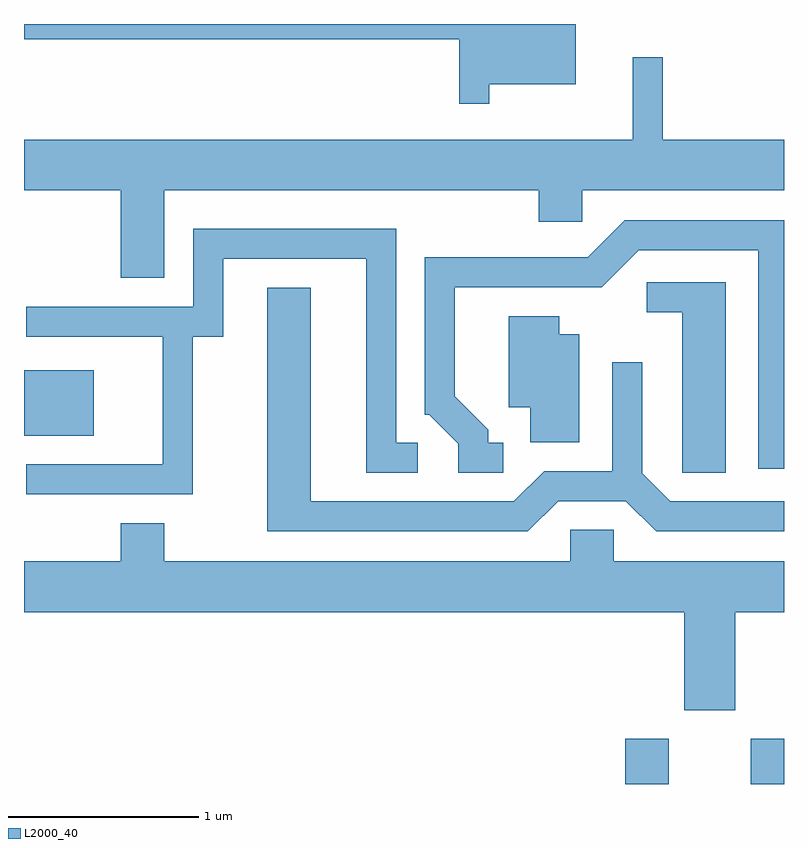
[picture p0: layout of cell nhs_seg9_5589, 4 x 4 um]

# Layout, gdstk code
import gdstk
lib = gdstk.Library(unit=1e-6, precision=1e-09)
def R(c, l, rs):  # rectangles x0, y0, x1, y1
    for r in rs: c.add(gdstk.rectangle(r[:2], r[2:], *l))
def P(c, l, *ps):  # polygons
    for p in ps: c.add(gdstk.Polygon(p, *l))
L2000_40 = (2000, 40)

nhs_seg9_5589 = lib.new_cell('nhs_seg9_5589')
R(nhs_seg9_5589, L2000_40, [(352.776,2026.432,353.004,2026.669), (353.436,2026.432,353.611,2026.669), (349.611,2028.266,349.979,2028.609)])
P(nhs_seg9_5589, L2000_40, [(352.059,2030.116),(352.514,2030.116),(352.514,2030.432),(349.611,2030.432),(349.611,2030.351),(351.901,2030.351),(351.901,2030.013),(352.059,2030.013)],
  [(350.349,2029.556),(352.321,2029.556),(352.321,2029.391),(352.549,2029.391),(352.549,2029.556),(353.611,2029.556),(353.611,2029.824),(352.974,2029.824),(352.974,2030.258),(352.816,2030.258),(352.816,2029.824),(349.611,2029.824),(349.611,2029.556),(350.121,2029.556),(350.121,2029.096),(350.349,2029.096)],
  [(352.133,2028.229),(352.054,2028.229),(352.054,2028.297),(351.879,2028.472),(351.879,2029.046),(352.652,2029.046),(352.847,2029.241),(353.476,2029.241),(353.476,2028.091),(353.611,2028.091),(353.611,2029.399),(352.774,2029.399),(352.579,2029.204),(351.721,2029.204),(351.721,2028.376),(351.744,2028.376),(351.896,2028.224),(351.896,2028.071),(352.133,2028.071)],
  [(350.499,2028.786),(350.659,2028.786),(350.659,2029.196),(351.411,2029.196),(351.411,2028.071),(351.683,2028.071),(351.683,2028.229),(351.569,2028.229),(351.569,2029.354),(350.501,2029.354),(350.501,2028.944),(349.623,2028.944),(349.623,2028.786),(350.341,2028.786),(350.341,2028.114),(349.623,2028.114),(349.623,2027.956),(350.499,2027.956)],
  [(353.304,2029.074),(352.888,2029.074),(352.888,2028.916),(353.076,2028.916),(353.076,2028.071),(353.304,2028.071)],
  [(352.422,2027.921),(352.779,2027.921),(352.939,2027.761),(353.611,2027.761),(353.611,2027.919),(353.012,2027.919),(352.864,2028.067),(352.864,2028.653),(352.706,2028.653),(352.706,2028.079),(352.349,2028.079),(352.189,2027.919),(351.119,2027.919),(351.119,2029.044),(350.891,2029.044),(350.891,2027.761),(352.262,2027.761)],
  [(352.534,2028.799),(352.429,2028.799),(352.429,2028.894),(352.161,2028.894),(352.161,2028.416),(352.276,2028.416),(352.276,2028.231),(352.534,2028.231)],
  [(353.354,2027.336),(353.611,2027.336),(353.611,2027.604),(352.714,2027.604),(352.714,2027.769),(352.486,2027.769),(352.486,2027.604),(350.349,2027.604),(350.349,2027.804),(350.121,2027.804),(350.121,2027.604),(349.611,2027.604),(349.611,2027.336),(353.086,2027.336),(353.086,2026.821),(353.354,2026.821)])

lib.write_gds('nhs_seg9_5589.gds')
